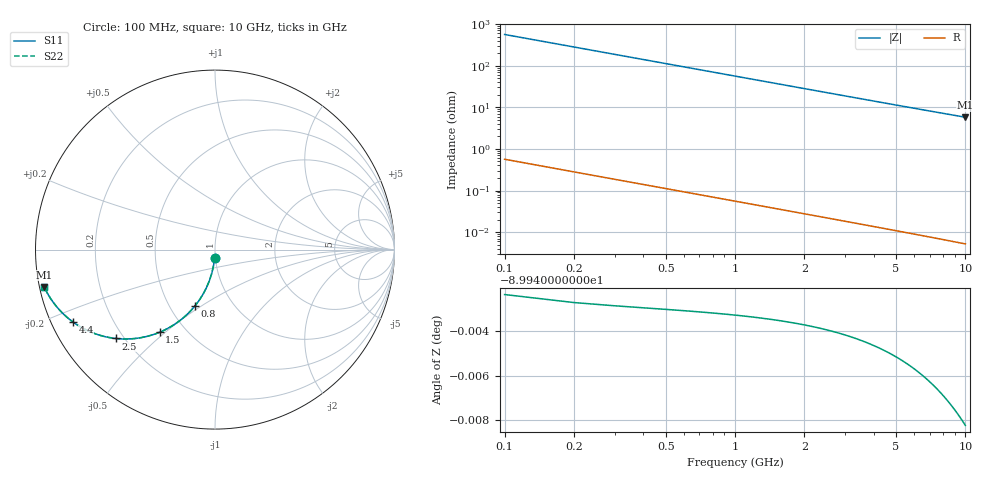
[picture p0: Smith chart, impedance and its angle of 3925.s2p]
# Hz S RI R 50.00
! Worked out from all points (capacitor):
!   100 points, 100 MHz to 10 GHz, reference 50 ohm
!   read as one part in shunt: C = 2.84 pF near 100 MHz
!   lowest |Z| = 5.77 ohm at 10 GHz (marker M1)
!   S11 on the Smith chart (normalised r, x): 100 MHz: 0.99, -0.09; 800 MHz: 0.66, -0.47; 1.5 GHz: 0.36, -0.48; 2.5 GHz: 0.17, -0.37; 4.4 GHz: 0.06, -0.24; 10 GHz: 0.01, -0.11
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1e8  -0.002 -0.0444  0.998 -0.0445  0.998 -0.0445  -0.002 -0.0444
2e8  -0.00794 -0.0882  0.992 -0.0885  0.992 -0.0885  -0.00794 -0.0882
3e8  -0.0176 -0.131  0.9823 -0.1314  0.9823 -0.1314  -0.0176 -0.131
4e8  -0.0309 -0.1723  0.9691 -0.1728  0.9691 -0.1728  -0.0309 -0.1723
5e8  -0.0474 -0.2117  0.9526 -0.2123  0.9526 -0.2123  -0.0474 -0.2117
6e8  -0.0668 -0.2489  0.9331 -0.2496  0.9331 -0.2496  -0.0668 -0.2489
8e8  -0.1128 -0.3154  0.8872 -0.3163  0.8872 -0.3163  -0.1128 -0.3154
9e8  -0.1386 -0.3445  0.8614 -0.3455  0.8614 -0.3455  -0.1386 -0.3445
1.1e9  -0.1936 -0.394  0.8063 -0.3953  0.8063 -0.3953  -0.1936 -0.394
1.3e9  -0.251 -0.4323  0.7489 -0.4339  0.7489 -0.4339  -0.251 -0.4323
1.5e9  -0.3084 -0.4605  0.6915 -0.4622  0.6915 -0.4622  -0.3084 -0.4605
1.8e9  -0.3909 -0.4864  0.6091 -0.4885  0.6091 -0.4885  -0.3909 -0.4864
2.1e9  -0.466 -0.4971  0.5339 -0.4996  0.5339 -0.4996  -0.466 -0.4971
2.5e9  -0.5527 -0.4952  0.4472 -0.4982  0.4472 -0.4982  -0.5527 -0.4952
2.9e9  -0.6243 -0.4821  0.3757 -0.4855  0.3757 -0.4855  -0.6243 -0.4821
3.4e9  -0.6953 -0.4578  0.3046 -0.4618  0.3046 -0.4618  -0.6953 -0.4578
3.9e9  -0.75 -0.4302  0.25 -0.4348  0.25 -0.4348  -0.75 -0.4302
4.4e9  -0.7923 -0.4025  0.2076 -0.4077  0.2076 -0.4077  -0.7923 -0.4025
5.1e9  -0.8366 -0.3661  0.1633 -0.3722  0.1633 -0.3722  -0.8366 -0.3661
6.7e9  -0.8982 -0.2978  0.1017 -0.3058  0.1017 -0.3058  -0.8982 -0.2978
8.4e9  -0.9328 -0.2448  0.0671 -0.2549  0.0671 -0.2549  -0.9328 -0.2448
1e10  -0.9516 -0.2078  0.0482 -0.2199  0.0482 -0.2199  -0.9516 -0.2078
